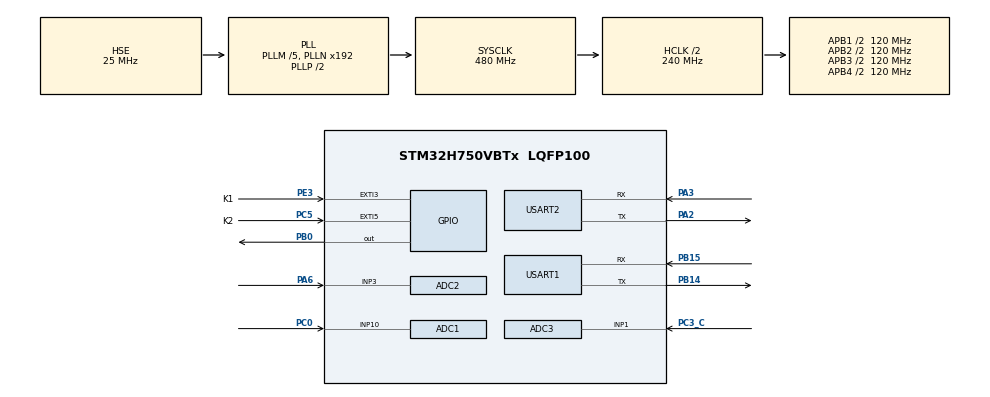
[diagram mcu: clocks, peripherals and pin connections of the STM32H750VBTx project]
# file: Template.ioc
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ADC1.Channel-0\#ChannelRegularConversion=ADC_CHANNEL_10
ADC1.ConversionDataManagement=ADC_CONVERSIONDATA_DMA_CIRCULAR
ADC1.ExternalTrigConv=ADC_EXTERNALTRIG_T15_TRGO
ADC1.ExternalTrigConvEdge=ADC_EXTERNALTRIGCONVEDGE_RISING
ADC1.NbrOfConversionFlag=1
ADC1.OffsetNumber-0\#ChannelRegularConversion=ADC_OFFSET_NONE
ADC1.OffsetSignedSaturation-0\#ChannelRegularConversion=DISABLE
ADC1.Rank-0\#ChannelRegularConversion=1
ADC1.SamplingTime-0\#ChannelRegularConversion=ADC_SAMPLETIME_1CYCLE_5
ADC1.master=1
ADC2.Channel-0\#ChannelRegularConversion=ADC_CHANNEL_3
ADC2.ConversionDataManagement=ADC_CONVERSIONDATA_DMA_CIRCULAR
ADC2.ExternalTrigConv=ADC_EXTERNALTRIG_T8_TRGO
ADC2.NbrOfConversionFlag=1
ADC2.OffsetNumber-0\#ChannelRegularConversion=ADC_OFFSET_NONE
ADC2.OffsetSignedSaturation-0\#ChannelRegularConversion=DISABLE
ADC2.Rank-0\#ChannelRegularConversion=1
ADC2.SamplingTime-0\#ChannelRegularConversion=ADC_SAMPLETIME_1CYCLE_5
ADC3.Channel-0\#ChannelRegularConversion=ADC_CHANNEL_1
ADC3.ConversionDataManagement=ADC_CONVERSIONDATA_DMA_CIRCULAR
ADC3.ExternalTrigConv=ADC_EXTERNALTRIG_T1_TRGO
ADC3.NbrOfConversionFlag=1
ADC3.OffsetNumber-0\#ChannelRegularConversion=ADC_OFFSET_NONE
ADC3.OffsetSignedSaturation-0\#ChannelRegularConversion=DISABLE
ADC3.Rank-0\#ChannelRegularConversion=1
ADC3.SamplingTime-0\#ChannelRegularConversion=ADC_SAMPLETIME_1CYCLE_5
CORTEX_M7.AccessPermission-Cortex_Memory_Protection_Unit_Region0_Settings=MPU_REGION_FULL_ACCESS
CORTEX_M7.AccessPermission-Cortex_Memory_Protection_Unit_Region1_Settings=MPU_REGION_FULL_ACCESS
CORTEX_M7.AccessPermission-Cortex_Memory_Protection_Unit_Region2_Settings=MPU_REGION_FULL_ACCESS
CORTEX_M7.AccessPermission-Cortex_Memory_Protection_Unit_Region3_Settings=MPU_REGION_FULL_ACCESS
CORTEX_M7.AccessPermission-Cortex_Memory_Protection_Unit_Region4_Settings=MPU_REGION_FULL_ACCESS
CORTEX_M7.BaseAddress-Cortex_Memory_Protection_Unit_Region0_Settings=0x24000000
CORTEX_M7.BaseAddress-Cortex_Memory_Protection_Unit_Region1_Settings=0x30000000
CORTEX_M7.BaseAddress-Cortex_Memory_Protection_Unit_Region2_Settings=0x30020000
CORTEX_M7.BaseAddress-Cortex_Memory_Protection_Unit_Region3_Settings=0x30040000
CORTEX_M7.BaseAddress-Cortex_Memory_Protection_Unit_Region4_Settings=0x38000000
CORTEX_M7.CPU_DCache=Enabled
CORTEX_M7.CPU_ICache=Enabled
CORTEX_M7.Enable-Cortex_Memory_Protection_Unit_Region0_Settings=MPU_REGION_ENABLE
CORTEX_M7.Enable-Cortex_Memory_Protection_Unit_Region1_Settings=MPU_REGION_ENABLE
CORTEX_M7.Enable-Cortex_Memory_Protection_Unit_Region2_Settings=MPU_REGION_ENABLE
CORTEX_M7.Enable-Cortex_Memory_Protection_Unit_Region3_Settings=MPU_REGION_ENABLE
CORTEX_M7.Enable-Cortex_Memory_Protection_Unit_Region4_Settings=MPU_REGION_ENABLE
CORTEX_M7.IsBufferable-Cortex_Memory_Protection_Unit_Region0_Settings=MPU_ACCESS_BUFFERABLE
CORTEX_M7.IsCacheable-Cortex_Memory_Protection_Unit_Region0_Settings=MPU_ACCESS_CACHEABLE
CORTEX_M7.MPU_Control=MPU_PRIVILEGED_DEFAULT
CORTEX_M7.Size-Cortex_Memory_Protection_Unit_Region0_Settings=MPU_REGION_SIZE_512KB
CORTEX_M7.Size-Cortex_Memory_Protection_Unit_Region1_Settings=MPU_REGION_SIZE_128KB
CORTEX_M7.Size-Cortex_Memory_Protection_Unit_Region2_Settings=MPU_REGION_SIZE_128KB
CORTEX_M7.Size-Cortex_Memory_Protection_Unit_Region3_Settings=MPU_REGION_SIZE_32KB
CORTEX_M7.Size-Cortex_Memory_Protection_Unit_Region4_Settings=MPU_REGION_SIZE_64KB
CORTEX_M7.TypeExtField-Cortex_Memory_Protection_Unit_Region0_Settings=MPU_TEX_LEVEL1
CORTEX_M7.TypeExtField-Cortex_Memory_Protection_Unit_Region1_Settings=MPU_TEX_LEVEL1
CORTEX_M7.TypeExtField-Cortex_Memory_Protection_Unit_Region2_Settings=MPU_TEX_LEVEL1
CORTEX_M7.TypeExtField-Cortex_Memory_Protection_Unit_Region3_Settings=MPU_TEX_LEVEL1
CORTEX_M7.TypeExtField-Cortex_Memory_Protection_Unit_Region4_Settings=MPU_TEX_LEVEL1
Dma.ADC1.0.Direction=DMA_PERIPH_TO_MEMORY
Dma.ADC1.0.EventEnable=DISABLE
Dma.ADC1.0.FIFOMode=DMA_FIFOMODE_DISABLE
Dma.ADC1.0.Instance=DMA1_Stream0
Dma.ADC1.0.MemDataAlignment=DMA_MDATAALIGN_HALFWORD
Dma.ADC1.0.MemInc=DMA_MINC_ENABLE
Dma.ADC1.0.Mode=DMA_NORMAL
Dma.ADC1.0.PeriphDataAlignment=DMA_PDATAALIGN_HALFWORD
Dma.ADC1.0.PeriphInc=DMA_PINC_DISABLE
Dma.ADC1.0.Polarity=HAL_DMAMUX_REQ_GEN_RISING
Dma.ADC1.0.Priority=DMA_PRIORITY_LOW
Dma.ADC1.0.RequestNumber=1
Dma.ADC1.0.SignalID=NONE
Dma.ADC1.0.SyncEnable=DISABLE
Dma.ADC1.0.SyncPolarity=HAL_DMAMUX_SYNC_NO_EVENT
Dma.ADC1.0.SyncRequestNumber=1
Dma.ADC1.0.SyncSignalID=NONE
Dma.ADC2.1.Direction=DMA_PERIPH_TO_MEMORY
Dma.ADC2.1.EventEnable=DISABLE
Dma.ADC2.1.FIFOMode=DMA_FIFOMODE_DISABLE
Dma.ADC2.1.Instance=DMA1_Stream1
Dma.ADC2.1.MemDataAlignment=DMA_MDATAALIGN_HALFWORD
Dma.ADC2.1.MemInc=DMA_MINC_ENABLE
Dma.ADC2.1.Mode=DMA_NORMAL
Dma.ADC2.1.PeriphDataAlignment=DMA_PDATAALIGN_HALFWORD
Dma.ADC2.1.PeriphInc=DMA_PINC_DISABLE
Dma.ADC2.1.Polarity=HAL_DMAMUX_REQ_GEN_RISING
Dma.ADC2.1.Priority=DMA_PRIORITY_LOW
Dma.ADC2.1.RequestNumber=1
Dma.ADC2.1.SignalID=NONE
Dma.ADC2.1.SyncEnable=DISABLE
Dma.ADC2.1.SyncPolarity=HAL_DMAMUX_SYNC_NO_EVENT
Dma.ADC2.1.SyncRequestNumber=1
Dma.ADC2.1.SyncSignalID=NONE
Dma.ADC3.2.Direction=DMA_PERIPH_TO_MEMORY
Dma.ADC3.2.EventEnable=DISABLE
Dma.ADC3.2.FIFOMode=DMA_FIFOMODE_DISABLE
Dma.ADC3.2.Instance=DMA2_Stream2
Dma.ADC3.2.MemDataAlignment=DMA_MDATAALIGN_HALFWORD
Dma.ADC3.2.MemInc=DMA_MINC_ENABLE
Dma.ADC3.2.Mode=DMA_NORMAL
Dma.ADC3.2.PeriphDataAlignment=DMA_PDATAALIGN_HALFWORD
Dma.ADC3.2.PeriphInc=DMA_PINC_DISABLE
Dma.ADC3.2.Polarity=HAL_DMAMUX_REQ_GEN_RISING
Dma.ADC3.2.Priority=DMA_PRIORITY_LOW
Dma.ADC3.2.RequestNumber=1
Dma.ADC3.2.SignalID=NONE
Dma.ADC3.2.SyncEnable=DISABLE
Dma.ADC3.2.SyncPolarity=HAL_DMAMUX_SYNC_NO_EVENT
Dma.ADC3.2.SyncRequestNumber=1
Dma.ADC3.2.SyncSignalID=NONE
Dma.Request0=ADC1
Dma.Request1=ADC2
Dma.Request2=ADC3
Mcu.Family=STM32H7
Mcu.Name=STM32H750VBTx
Mcu.Package=LQFP100
NVIC.DMA1_Stream0_IRQn=true\:0\:0\:false\:false\:true\:false\:true\:true
NVIC.DMA1_Stream1_IRQn=true\:0\:0\:false\:false\:true\:false\:true\:true
NVIC.DMA2_Stream2_IRQn=true\:0\:0\:false\:false\:true\:false\:true\:true
NVIC.EXTI3_IRQn=true\:0\:0\:false\:false\:true\:true\:true\:true
NVIC.EXTI9_5_IRQn=true\:0\:0\:false\:false\:true\:true\:true\:true
NVIC.PriorityGroup=NVIC_PRIORITYGROUP_4
NVIC.USART1_IRQn=true\:0\:0\:false\:false\:true\:true\:true\:true
PA13\ (JTMS/SWDIO).Mode=Serial_Wire
PA13\ (JTMS/SWDIO).Signal=DEBUG_JTMS-SWDIO
PA14\ (JTCK/SWCLK).Mode=Serial_Wire
PA14\ (JTCK/SWCLK).Signal=DEBUG_JTCK-SWCLK
PA2.Mode=Asynchronous
PA2.Signal=USART2_TX
PA3.Mode=Asynchronous
PA3.Signal=USART2_RX
PA6.Signal=ADCx_INP3
PB0.GPIO_ModeDefaultOutputPP=GPIO_MODE_OUTPUT_PP
PB0.GPIO_PuPd=GPIO_PULLDOWN
PB0.GPIO_Speed=GPIO_SPEED_FREQ_VERY_HIGH
PB0.PinState=GPIO_PIN_RESET
PB0.Signal=GPIO_Output
PB14.Mode=Asynchronous
PB14.Signal=USART1_TX
PB15.Mode=Asynchronous
PB15.Signal=USART1_RX
PC0.Signal=ADCx_INP10
PC3_C.Mode=IN1-Single-Ended
PC3_C.Signal=ADC3_INP1
PC5.GPIO_Label=K2
PC5.GPIO_ModeDefaultEXTI=GPIO_MODE_IT_FALLING
PC5.GPIO_PuPd=GPIO_PULLUP
PC5.Signal=GPXTI5
PE3.GPIO_Label=K1
PE3.GPIO_ModeDefaultEXTI=GPIO_MODE_IT_FALLING
PE3.GPIO_PuPd=GPIO_PULLUP
PE3.Signal=GPXTI3
PH0-OSC_IN\ (PH0).Mode=HSE-External-Oscillator
PH0-OSC_IN\ (PH0).Signal=RCC_OSC_IN
PH1-OSC_OUT\ (PH1).Mode=HSE-External-Oscillator
PH1-OSC_OUT\ (PH1).Signal=RCC_OSC_OUT
ProjectManager.HeapSize=0x200
ProjectManager.StackSize=0x7400
ProjectManager.TargetToolchain=MDK-ARM V5.32
RCC.ADCFreq_Value=72000000
RCC.APB1Freq_Value=120000000
RCC.APB2Freq_Value=120000000
RCC.APB3Freq_Value=120000000
RCC.APB4Freq_Value=120000000
RCC.CortexFreq_Value=480000000
RCC.D1PPRE=RCC_APB3_DIV2
RCC.D2PPRE1=RCC_APB1_DIV2
RCC.D2PPRE2=RCC_APB2_DIV2
RCC.D3PPRE=RCC_APB4_DIV2
RCC.DIVM1=5
RCC.DIVM2=25
RCC.DIVN1=192
RCC.DIVN2=360
RCC.DIVP2=5
RCC.HCLKFreq_Value=240000000
RCC.HPRE=RCC_HCLK_DIV2
RCC.PLLSourceVirtual=RCC_PLLSOURCE_HSE
RCC.ProductRev=revV
RCC.SYSCLKFreq_VALUE=480000000
RCC.SYSCLKSource=RCC_SYSCLKSOURCE_PLLCLK
RCC.USBFreq_Value=480000000
SH.ADCx_INP10.0=ADC1_INP10,IN10-Single-Ended
SH.ADCx_INP3.0=ADC2_INP3,IN3-Single-Ended
TIM1.Period=8-1
TIM1.Prescaler=100-1
TIM1.TIM_MasterOutputTrigger=TIM_TRGO_UPDATE
TIM15.Period=8-1
TIM15.Prescaler=100-1
TIM15.TIM_MasterOutputTrigger=TIM_TRGO_UPDATE
TIM7.Prescaler=239
TIM8.Period=8-1
TIM8.Prescaler=100-1
TIM8.TIM_MasterOutputTrigger=TIM_TRGO_UPDATE
USART1.VirtualMode-Asynchronous=VM_ASYNC
USART2.VirtualMode-Asynchronous=VM_ASYNC
VP_TIM15_VS_ClockSourceINT.Mode=Internal
VP_TIM1_VS_ClockSourceINT.Mode=Internal
VP_TIM7_VS_ClockSourceINT.Mode=Enable_Timer
VP_TIM8_VS_ClockSourceINT.Mode=Internal
board=custom

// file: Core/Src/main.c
/* USER CODE BEGIN Header */
/**
  ******************************************************************************
  * @file           : main.c
  * @brief          : Main program body
  ******************************************************************************
  * @attention
  *
  * Copyright (c) 2023 STMicroelectronics.
  * All rights reserved.
  *
  * This software is licensed under terms that can be found in the LICENSE file
  * in the root directory of this software component.
  * If no LICENSE file comes with this software, it is provided AS-IS.
  *
  ******************************************************************************
  */
/* USER CODE END Header */
#include "main.h"
#include "adc.h"
#include "dma.h"
#include "tim.h"
#include "usart.h"
#include "gpio.h"

/* USER CODE BEGIN PV */
ALIGN_32BYTES (uint16_t adc1_data[FFT_LENGTH]) 	__attribute__((section(".ARM.__at_0x30000000")));
ALIGN_32BYTES (uint16_t adc2_data[FFT_LENGTH]) 	__attribute__((section(".ARM.__at_0x30020000")));
ALIGN_32BYTES (uint16_t adc3_data[FFT_LENGTH]) 	__attribute__((section(".ARM.__at_0x30040000")));
__IO uint8_t Adc1_ConvEnd = 0;//表示adc1采集完成
__IO uint8_t Adc2_ConvEnd = 0;//表示adc2采集完成
__IO uint8_t Adc3_ConvEnd = 0;//表示adc3采集完成

uint8_t	K1_state,K2_state=0;
u8 flag=0;
float	Vpp_adc1,Vpp_adc2,Vpp_adc3;

/* USER CODE END PV */

void SystemClock_Config(void);
void PeriphCommonClock_Config(void);
static void MPU_Initialize(void);
static void MPU_Config(void);
/* USER CODE BEGIN PFP */

void adc1_init(void);
void adc2_init(void);
void adc3_init(void);
void Find_Vpp(uint8_t	ADCX);
void test(void);
/* USER CODE END PFP */

int main(void)
{

  /* Enable I-Cache---------------------------------------------------------*/
  SCB_EnableICache();

  /* Enable D-Cache---------------------------------------------------------*/
  SCB_EnableDCache();

  /* MCU Configuration--------------------------------------------------------*/

  /* Reset of all peripherals, Initializes the Flash interface and the Systick. */
  HAL_Init();

  /* MPU Configuration--------------------------------------------------------*/
  MPU_Config();

  /* Configure the system clock */
  SystemClock_Config();

/* Configure the peripherals common clocks */
  PeriphCommonClock_Config();

  /* Initialize all configured peripherals */
  MX_GPIO_Init();
  MX_DMA_Init();
  MX_USART2_UART_Init();
  MX_ADC1_Init();
  MX_USART1_UART_Init();
  MX_ADC2_Init();
  MX_ADC3_Init();
  MX_TIM7_Init();
  MX_TIM1_Init();
  MX_TIM15_Init();
  MX_TIM8_Init();
  /* USER CODE BEGIN 2 */

	printf("start\n");
	Uart_printf(&huart2,"%d\r\n",1000);
	float	Vs,Vi;
	float	Vo,VoL;
	float	R_in,R_out;		//输入输出电阻
	float	Av;						//电压增益
	float Vdc,Vac;
HAL_GPIO_WritePin(GPIOB,GPIO_PIN_0,0);
  /* USER CODE END 2 */

  /* Infinite loop */
  while (1)
  {

    /* USER CODE BEGIN 3 */

		//测量输入输出电阻，电压增益	1kHz
		if(K1_state == 1&&flag==0)
		{
			K1_state=0;
			printf("K1\n");
			Uart_printf(&huart2,"%d\r\n",10);
			Uart_printf(&huart2,"%d\r\n",10);//10对应1k

			//！！电压是真实值！！有放大需修正
			//测量输入电阻

			adc1_init();
			Find_Vpp(1);

			adc2_init();
			Find_Vpp(2);

			Vs =Vpp_adc1;
			Vi =Vpp_adc2;
			R_in = Vi/(Vs-Vi)*2000;		//Ri取2kΩ时,2k实测1950
			printf("R_in = %f\n",R_in);

//			测量输出电阻	不接负载为常态，K1断开
				HAL_GPIO_WritePin(GPIOB,0,0);
				adc3_init();
				Find_Vpp(3);
				Vo = Vpp_adc3;
//			//模拟开关控制，接入负载，K1闭合
				HAL_GPIO_WritePin(GPIOB,0,1);
				adc3_init();
				Find_Vpp(3);
				VoL = Vpp_adc3;
				R_out = (Vo/VoL-1)*10000;
				printf("R_out=%f\n",R_out);
//			//测量电压增益
//			Av = Vo/Vi;

		}

		//测量幅频响应		截止频率160k左右
		if(K2_state == 1&&flag==0)
		{
			K2_state=0;
			printf("K2\n");

			printf("1k\n");
			Uart_printf(&huart2,"%d\r\n",10);
			Uart_printf(&huart2,"%d\r\n",10);

			//采样求增益

			printf("10k\n");
			Uart_printf(&huart2,"%d\r\n",100);
			Uart_printf(&huart2,"%d\r\n",100);

			//采样求增益

			printf("30k\n");
			Uart_printf(&huart2,"%d\r\n",300);
			Uart_printf(&huart2,"%d\r\n",300);

			//采样求增益

		}
		//故障检测
		if(flag==1)
		{
			test();
		}
  }
  /* USER CODE END 3 */
}

void SystemClock_Config(void)
{
  RCC_OscInitTypeDef RCC_OscInitStruct = {0};
  RCC_ClkInitTypeDef RCC_ClkInitStruct = {0};

  /** Supply configuration update enable
  */
  HAL_PWREx_ConfigSupply(PWR_LDO_SUPPLY);

  /** Configure the main internal regulator output voltage
  */
  __HAL_PWR_VOLTAGESCALING_CONFIG(PWR_REGULATOR_VOLTAGE_SCALE1);

  while(!__HAL_PWR_GET_FLAG(PWR_FLAG_VOSRDY)) {}

  __HAL_RCC_SYSCFG_CLK_ENABLE();
  __HAL_PWR_VOLTAGESCALING_CONFIG(PWR_REGULATOR_VOLTAGE_SCALE0);

  while(!__HAL_PWR_GET_FLAG(PWR_FLAG_VOSRDY)) {}

  /** Initializes the RCC Oscillators according to the specified parameters
  * in the RCC_OscInitTypeDef structure.
  */
  RCC_OscInitStruct.OscillatorType = RCC_OSCILLATORTYPE_HSE;
  RCC_OscInitStruct.HSEState = RCC_HSE_ON;
  RCC_OscInitStruct.PLL.PLLState = RCC_PLL_ON;
  RCC_OscInitStruct.PLL.PLLSource = RCC_PLLSOURCE_HSE;
  RCC_OscInitStruct.PLL.PLLM = 5;
  RCC_OscInitStruct.PLL.PLLN = 192;
  RCC_OscInitStruct.PLL.PLLP = 2;
  RCC_OscInitStruct.PLL.PLLQ = 2;
  RCC_OscInitStruct.PLL.PLLR = 2;
  RCC_OscInitStruct.PLL.PLLRGE = RCC_PLL1VCIRANGE_2;
  RCC_OscInitStruct.PLL.PLLVCOSEL = RCC_PLL1VCOWIDE;
  RCC_OscInitStruct.PLL.PLLFRACN = 0;
  if (HAL_RCC_OscConfig(&RCC_OscInitStruct) != HAL_OK)
  {
    Error_Handler();
  }

  /** Initializes the CPU, AHB and APB buses clocks
  */
  RCC_ClkInitStruct.ClockType = RCC_CLOCKTYPE_HCLK|RCC_CLOCKTYPE_SYSCLK
                              |RCC_CLOCKTYPE_PCLK1|RCC_CLOCKTYPE_PCLK2
                              |RCC_CLOCKTYPE_D3PCLK1|RCC_CLOCKTYPE_D1PCLK1;
  RCC_ClkInitStruct.SYSCLKSource = RCC_SYSCLKSOURCE_PLLCLK;
  RCC_ClkInitStruct.SYSCLKDivider = RCC_SYSCLK_DIV1;
  RCC_ClkInitStruct.AHBCLKDivider = RCC_HCLK_DIV2;
  RCC_ClkInitStruct.APB3CLKDivider = RCC_APB3_DIV2;
  RCC_ClkInitStruct.APB1CLKDivider = RCC_APB1_DIV2;
  RCC_ClkInitStruct.APB2CLKDivider = RCC_APB2_DIV2;
  RCC_ClkInitStruct.APB4CLKDivider = RCC_APB4_DIV2;

  if (HAL_RCC_ClockConfig(&RCC_ClkInitStruct, FLASH_LATENCY_4) != HAL_OK)
  {
    Error_Handler();
  }
}

void PeriphCommonClock_Config(void)
{
  RCC_PeriphCLKInitTypeDef PeriphClkInitStruct = {0};

  /** Initializes the peripherals clock
  */
  PeriphClkInitStruct.PeriphClockSelection = RCC_PERIPHCLK_ADC;
  PeriphClkInitStruct.PLL2.PLL2M = 25;
  PeriphClkInitStruct.PLL2.PLL2N = 360;
  PeriphClkInitStruct.PLL2.PLL2P = 5;
  PeriphClkInitStruct.PLL2.PLL2Q = 2;
  PeriphClkInitStruct.PLL2.PLL2R = 2;
  PeriphClkInitStruct.PLL2.PLL2RGE = RCC_PLL2VCIRANGE_0;
  PeriphClkInitStruct.PLL2.PLL2VCOSEL = RCC_PLL2VCOWIDE;
  PeriphClkInitStruct.PLL2.PLL2FRACN = 0;
  PeriphClkInitStruct.AdcClockSelection = RCC_ADCCLKSOURCE_PLL2;
  if (HAL_RCCEx_PeriphCLKConfig(&PeriphClkInitStruct) != HAL_OK)
  {
    Error_Handler();
  }
}

/* USER CODE BEGIN 4 */
	//求采样数据峰峰值
void Find_Vpp(uint8_t	ADCX)
{
	float vi_max,vi_min;
	float voltage = 0;

	if(ADCX==1)
	{
			vi_max = adc1_data[30]*3.3/65535;
			vi_min = adc1_data[30]*3.3/65535;
			for (u16 temp = 10 ;temp < FFT_LENGTH-10 ;temp++)
			{
				voltage = adc1_data[temp]*3.3/65535;
				if(voltage>vi_max)
				{
					vi_max = voltage;
				}
				if(voltage<vi_min)
				{
					vi_min = voltage;
				}
			}
		Vpp_adc1 = vi_max - vi_min;
		printf("vi_max = %f\n",vi_max);
		printf("vi_min = %f\n",vi_min);
		printf("Vpp_adc1 = %f\n",Vpp_adc1);
	}
	else if(ADCX==2)
	{
			vi_max = adc2_data[30]*3.3/65535;
			vi_min = adc2_data[30]*3.3/65535;
			for (u16 temp = 10 ;temp < FFT_LENGTH-10 ;temp++)
			{
				voltage = adc2_data[temp]*3.3/65535;
				if(voltage>vi_max)
				{
					vi_max = voltage;
				}
				if(voltage<vi_min)
				{
					vi_min = voltage;
				}
			}
		Vpp_adc2 = vi_max - vi_min;
		printf("vi_max = %f\n",vi_max);
		printf("vi_min = %f\n",vi_min);
		printf("Vpp_adc2 = %f\n",Vpp_adc2);
	}
	else if(ADCX==3)
	{
			vi_max = adc3_data[30]*3.3/65535;
			vi_min = adc3_data[30]*3.3/65535;
			for (u16 temp = 10 ;temp < FFT_LENGTH-10 ;temp++)
			{
				voltage = adc3_data[temp]*3.3/65535;
				if(voltage>vi_max)
				{
					vi_max = voltage;
				}
				if(voltage<vi_min)
				{
					vi_min = voltage;
				}
			}
		Vpp_adc3 = vi_max - vi_min;
		printf("vi_max = %f\n",vi_max);
		printf("vi_min = %f\n",vi_min);
		printf("Vpp_adc3 = %f\n",Vpp_adc3);
	}
}
	//IO中断
void HAL_GPIO_EXTI_Callback(uint16_t GPIO_Pin)
{
	if(GPIO_Pin == K1_Pin)
	{
		K1_state = 1;
	}
	if(GPIO_Pin == K2_Pin)
	{
		K2_state = 1;
	}
}
	//ADC
void HAL_ADC_ConvCpltCallback(ADC_HandleTypeDef* hadc)
{
   if(hadc->Instance == ADC1)
	{
      //SCB_InvalidateDCache_by_Addr((uint32_t *) &adc1_data[0], ADC1_BUFFER_SIZE);
		Adc1_ConvEnd = 1;
  }
   if(hadc->Instance == ADC2)
	{
      //SCB_InvalidateDCache_by_Addr((uint32_t *) &adc1_data[0], ADC1_BUFFER_SIZE);
		Adc2_ConvEnd = 1;
  }
   if(hadc->Instance == ADC3)
	{
      //SCB_InvalidateDCache_by_Addr((uint32_t *) &adc1_data[0], ADC1_BUFFER_SIZE);
		Adc3_ConvEnd = 1;
  }
}
	//adc校准及启动采栿
void adc1_init(void)
{
	printf("start_adc1\n");
	MX_ADC1_Init();	//初始化调用放这里, 确保在MX_DMA_Init()初始化后靿
//	TIM15->PSC =5-1;
	HAL_Delay(100);	//有地方说这里可以等等电压稳定后再校准
	if (HAL_ADCEx_Calibration_Start(&hadc1, ADC_CALIB_OFFSET, ADC_SINGLE_ENDED) != HAL_OK)
	{
			printf("hadc1 error with HAL_ADCEx_Calibration_Start\r\n");
			Error_Handler();
	}

	if (HAL_ADC_Start_DMA(&hadc1, (uint32_t *)adc1_data, FFT_LENGTH) != HAL_OK)
	{
			printf("hadc1 error with HAL_ADC_Start_DMA\r\n");
			Error_Handler();
	}

	HAL_TIM_Base_Start(&htim15);
	while (!Adc1_ConvEnd);
	Adc1_ConvEnd = 0;
	HAL_ADC_DeInit(&hadc1);			//逆初始化
	HAL_TIM_Base_Stop(&htim15);
}

void adc2_init(void)
{
	printf("start_adc2\n");
	MX_ADC2_Init();	//初始化调用放这里, 确保在MX_DMA_Init()初始化后靿
//	TIM4->PSC =5-1;
	HAL_Delay(100);	//有地方说这里可以等等电压稳定后再校准
	if (HAL_ADCEx_Calibration_Start(&hadc2, ADC_CALIB_OFFSET, ADC_SINGLE_ENDED) != HAL_OK)
	{
			printf("hadc2 error with HAL_ADCEx_Calibration_Start\r\n");
			Error_Handler();
	}

	if (HAL_ADC_Start_DMA(&hadc2, (uint32_t *)adc2_data, FFT_LENGTH) != HAL_OK)
	{
			printf("hadc2 error with HAL_ADC_Start_DMA\r\n");
			Error_Handler();
	}

	HAL_TIM_Base_Start(&htim8);
	while (!Adc2_ConvEnd);
	Adc2_ConvEnd = 0;
	HAL_ADC_DeInit(&hadc2);			//逆初始化
	HAL_TIM_Base_Stop(&htim8);
}

void adc3_init(void)
{
	printf("start_adc3\n");
	MX_ADC3_Init();	//初始化调用放这里, 确保在MX_DMA_Init()初始化后靿
//	TIM1->PSC =80-1;
	HAL_Delay(100);	//有地方说这里可以等等电压稳定后再校准
	if (HAL_ADCEx_Calibration_Start(&hadc3, ADC_CALIB_OFFSET, ADC_SINGLE_ENDED) != HAL_OK)
	{
			printf("hadc3 error with HAL_ADCEx_Calibration_Start\r\n");
			Error_Handler();
	}

	if (HAL_ADC_Start_DMA(&hadc3, (uint32_t *)adc3_data, FFT_LENGTH) != HAL_OK)
	{
			printf("hadc3 error with HAL_ADC_Start_DMA\r\n");
			Error_Handler();
	}

	HAL_TIM_Base_Start(&htim1);
	while (!Adc3_ConvEnd);
	Adc3_ConvEnd = 0;
	HAL_ADC_DeInit(&hadc3);			//逆初始化
	HAL_TIM_Base_Stop(&htim1);
}

void test()
{
	//根据Vi（adc2）、DC、AC判断
	//正常
	//R1断路
	//R2断路
	//R3断路
	//R4断路
	//R1短路
	//R2短路
	//R3短路
	//R4短路
	//C1断路
	//C2断路
	//C3断路
	//C1两倍
	//C2两倍
	//C3两倍
}
/* USER CODE END 4 */

/* MPU Configuration */

void MPU_Config(void)
{
  MPU_Region_InitTypeDef MPU_InitStruct = {0};

  /* Disables the MPU */
  HAL_MPU_Disable();

  /** Initializes and configures the Region and the memory to be protected
  */
  MPU_InitStruct.Enable = MPU_REGION_ENABLE;
  MPU_InitStruct.Number = MPU_REGION_NUMBER0;
  MPU_InitStruct.BaseAddress = 0x24000000;
  MPU_InitStruct.Size = MPU_REGION_SIZE_512KB;
  MPU_InitStruct.SubRegionDisable = 0x0;
  MPU_InitStruct.TypeExtField = MPU_TEX_LEVEL1;
  MPU_InitStruct.AccessPermission = MPU_REGION_FULL_ACCESS;
  MPU_InitStruct.DisableExec = MPU_INSTRUCTION_ACCESS_ENABLE;
  MPU_InitStruct.IsShareable = MPU_ACCESS_NOT_SHAREABLE;
  MPU_InitStruct.IsCacheable = MPU_ACCESS_CACHEABLE;
  MPU_InitStruct.IsBufferable = MPU_ACCESS_BUFFERABLE;

  HAL_MPU_ConfigRegion(&MPU_InitStruct);

  /** Initializes and configures the Region and the memory to be protected
  */
  MPU_InitStruct.Number = MPU_REGION_NUMBER1;
  MPU_InitStruct.BaseAddress = 0x30000000;
  MPU_InitStruct.Size = MPU_REGION_SIZE_128KB;
  MPU_InitStruct.IsCacheable = MPU_ACCESS_NOT_CACHEABLE;
  MPU_InitStruct.IsBufferable = MPU_ACCESS_NOT_BUFFERABLE;

  HAL_MPU_ConfigRegion(&MPU_InitStruct);

  /** Initializes and configures the Region and the memory to be protected
  */
  MPU_InitStruct.Number = MPU_REGION_NUMBER2;
  MPU_InitStruct.BaseAddress = 0x30020000;

  HAL_MPU_ConfigRegion(&MPU_InitStruct);

  /** Initializes and configures the Region and the memory to be protected
  */
  MPU_InitStruct.Number = MPU_REGION_NUMBER3;
  MPU_InitStruct.BaseAddress = 0x30040000;
  MPU_InitStruct.Size = MPU_REGION_SIZE_32KB;

  HAL_MPU_ConfigRegion(&MPU_InitStruct);

  /** Initializes and configures the Region and the memory to be protected
  */
  MPU_InitStruct.Number = MPU_REGION_NUMBER4;
  MPU_InitStruct.BaseAddress = 0x38000000;
  MPU_InitStruct.Size = MPU_REGION_SIZE_64KB;

  HAL_MPU_ConfigRegion(&MPU_InitStruct);
  /* Enables the MPU */
  HAL_MPU_Enable(MPU_PRIVILEGED_DEFAULT);

}

void Error_Handler(void)
{
  __disable_irq();
  while (1)
  {
  }
}
